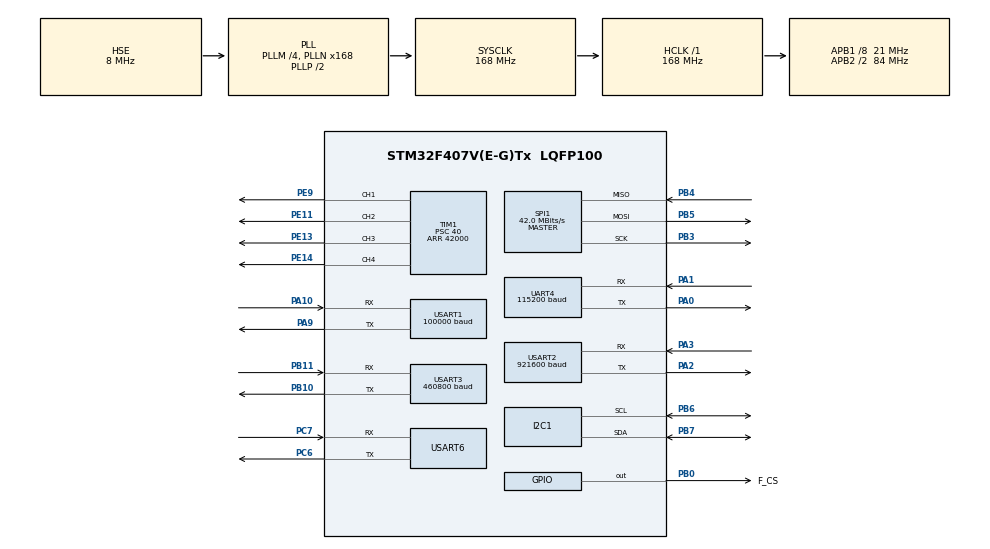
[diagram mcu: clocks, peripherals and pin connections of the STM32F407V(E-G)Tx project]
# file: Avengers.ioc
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Dma.Request0=USART1_RX
Dma.Request1=USART3_RX
Dma.Request2=USART6_RX
Dma.Request3=UART4_RX
Dma.UART4_RX.3.Direction=DMA_PERIPH_TO_MEMORY
Dma.UART4_RX.3.FIFOMode=DMA_FIFOMODE_DISABLE
Dma.UART4_RX.3.Instance=DMA1_Stream2
Dma.UART4_RX.3.MemDataAlignment=DMA_MDATAALIGN_BYTE
Dma.UART4_RX.3.MemInc=DMA_MINC_ENABLE
Dma.UART4_RX.3.Mode=DMA_CIRCULAR
Dma.UART4_RX.3.PeriphDataAlignment=DMA_PDATAALIGN_BYTE
Dma.UART4_RX.3.PeriphInc=DMA_PINC_DISABLE
Dma.UART4_RX.3.Priority=DMA_PRIORITY_LOW
Dma.USART1_RX.0.Direction=DMA_PERIPH_TO_MEMORY
Dma.USART1_RX.0.FIFOMode=DMA_FIFOMODE_DISABLE
Dma.USART1_RX.0.Instance=DMA2_Stream2
Dma.USART1_RX.0.MemDataAlignment=DMA_MDATAALIGN_BYTE
Dma.USART1_RX.0.MemInc=DMA_MINC_ENABLE
Dma.USART1_RX.0.Mode=DMA_CIRCULAR
Dma.USART1_RX.0.PeriphDataAlignment=DMA_PDATAALIGN_BYTE
Dma.USART1_RX.0.PeriphInc=DMA_PINC_DISABLE
Dma.USART1_RX.0.Priority=DMA_PRIORITY_MEDIUM
Dma.USART3_RX.1.Direction=DMA_PERIPH_TO_MEMORY
Dma.USART3_RX.1.FIFOMode=DMA_FIFOMODE_DISABLE
Dma.USART3_RX.1.Instance=DMA1_Stream1
Dma.USART3_RX.1.MemDataAlignment=DMA_MDATAALIGN_BYTE
Dma.USART3_RX.1.MemInc=DMA_MINC_ENABLE
Dma.USART3_RX.1.Mode=DMA_CIRCULAR
Dma.USART3_RX.1.PeriphDataAlignment=DMA_PDATAALIGN_BYTE
Dma.USART3_RX.1.PeriphInc=DMA_PINC_DISABLE
Dma.USART3_RX.1.Priority=DMA_PRIORITY_LOW
Dma.USART6_RX.2.Direction=DMA_PERIPH_TO_MEMORY
Dma.USART6_RX.2.FIFOMode=DMA_FIFOMODE_DISABLE
Dma.USART6_RX.2.Instance=DMA2_Stream1
Dma.USART6_RX.2.MemDataAlignment=DMA_MDATAALIGN_BYTE
Dma.USART6_RX.2.MemInc=DMA_MINC_ENABLE
Dma.USART6_RX.2.Mode=DMA_CIRCULAR
Dma.USART6_RX.2.PeriphDataAlignment=DMA_PDATAALIGN_BYTE
Dma.USART6_RX.2.PeriphInc=DMA_PINC_DISABLE
Dma.USART6_RX.2.Priority=DMA_PRIORITY_LOW
Mcu.Family=STM32F4
Mcu.Name=STM32F407V(E-G)Tx
Mcu.Package=LQFP100
NVIC.DMA1_Stream1_IRQn=true\:0\:0\:false\:false\:true\:false
NVIC.DMA1_Stream2_IRQn=true\:0\:0\:false\:false\:true\:false
NVIC.DMA2_Stream1_IRQn=true\:0\:0\:false\:false\:true\:false
NVIC.DMA2_Stream2_IRQn=true\:0\:0\:false\:false\:true\:false
NVIC.PriorityGroup=NVIC_PRIORITYGROUP_4
NVIC.TIM6_DAC_IRQn=true\:0\:0\:false\:false\:true\:true
NVIC.TIM7_IRQn=true\:0\:0\:false\:false\:true\:true
NVIC.USART6_IRQn=true\:0\:0\:false\:false\:true\:true
PA0-WKUP.Mode=Asynchronous
PA0-WKUP.Signal=UART4_TX
PA1.Mode=Asynchronous
PA1.Signal=UART4_RX
PA10.Mode=Asynchronous
PA10.Signal=USART1_RX
PA13.Mode=Serial_Wire
PA13.Signal=SYS_JTMS-SWDIO
PA14.Mode=Serial_Wire
PA14.Signal=SYS_JTCK-SWCLK
PA2.Mode=Asynchronous
PA2.Signal=USART2_TX
PA3.Mode=Asynchronous
PA3.Signal=USART2_RX
PA9.Mode=Asynchronous
PA9.Signal=USART1_TX
PB0.GPIO_Label=F_CS
PB0.Signal=GPIO_Output
PB10.Mode=Asynchronous
PB10.Signal=USART3_TX
PB11.Mode=Asynchronous
PB11.Signal=USART3_RX
PB3.Mode=Full_Duplex_Master
PB3.Signal=SPI1_SCK
PB4.Mode=Full_Duplex_Master
PB4.Signal=SPI1_MISO
PB5.Mode=Full_Duplex_Master
PB5.Signal=SPI1_MOSI
PB6.Mode=I2C
PB6.Signal=I2C1_SCL
PB7.Mode=I2C
PB7.Signal=I2C1_SDA
PC6.Mode=Asynchronous
PC6.Signal=USART6_TX
PC7.Mode=Asynchronous
PC7.Signal=USART6_RX
PE11.Signal=S_TIM1_CH2
PE13.Signal=S_TIM1_CH3
PE14.Signal=S_TIM1_CH4
PE9.Signal=S_TIM1_CH1
PH0-OSC_IN.Mode=HSE-External-Oscillator
PH0-OSC_IN.Signal=RCC_OSC_IN
PH1-OSC_OUT.Mode=HSE-External-Oscillator
PH1-OSC_OUT.Signal=RCC_OSC_OUT
ProjectManager.HeapSize=0x200
ProjectManager.StackSize=0x4000
ProjectManager.TargetToolchain=EWARM
RCC.48MHZClocksFreq_Value=84000000
RCC.AHBFreq_Value=168000000
RCC.APB1CLKDivider=RCC_HCLK_DIV8
RCC.APB1Freq_Value=21000000
RCC.APB1TimFreq_Value=42000000
RCC.APB2CLKDivider=RCC_HCLK_DIV2
RCC.APB2Freq_Value=84000000
RCC.APB2TimFreq_Value=168000000
RCC.CortexFreq_Value=168000000
RCC.HCLKFreq_Value=168000000
RCC.HSE_VALUE=8000000
RCC.HSI_VALUE=16000000
RCC.LSE_VALUE=32768
RCC.PLLM=4
RCC.PLLN=168
RCC.PLLSourceVirtual=RCC_PLLSOURCE_HSE
RCC.SYSCLKFreq_VALUE=168000000
RCC.SYSCLKSource=RCC_SYSCLKSOURCE_PLLCLK
RCC.VCOOutputFreq_Value=336000000
SH.S_TIM1_CH1.0=TIM1_CH1,PWM Generation1 CH1
SH.S_TIM1_CH2.0=TIM1_CH2,PWM Generation2 CH2
SH.S_TIM1_CH3.0=TIM1_CH3,PWM Generation3 CH3
SH.S_TIM1_CH4.0=TIM1_CH4,PWM Generation4 CH4
SPI1.BaudRatePrescaler=SPI_BAUDRATEPRESCALER_2
SPI1.CalculateBaudRate=42.0 MBits/s
SPI1.Direction=SPI_DIRECTION_2LINES
SPI1.Mode=SPI_MODE_MASTER
SPI1.VirtualType=VM_MASTER
TIM1.Channel-PWM\ Generation1\ CH1=TIM_CHANNEL_1
TIM1.Channel-PWM\ Generation2\ CH2=TIM_CHANNEL_2
TIM1.Channel-PWM\ Generation3\ CH3=TIM_CHANNEL_3
TIM1.Channel-PWM\ Generation4\ CH4=TIM_CHANNEL_4
TIM1.Period=42000
TIM1.Prescaler=40
TIM6.Period=999
TIM6.Prescaler=41
TIM7.Period=9999
TIM7.Prescaler=4199
UART4.BaudRate=115200
UART4.VirtualMode=Asynchronous
USART1.BaudRate=100000
USART1.Parity=PARITY_EVEN
USART1.StopBits=STOPBITS_2
USART1.VirtualMode=VM_ASYNC
USART1.WordLength=WORDLENGTH_9B
USART2.BaudRate=921600
USART2.VirtualMode=VM_ASYNC
USART3.BaudRate=460800
USART3.VirtualMode=VM_ASYNC
USART6.VirtualMode=VM_ASYNC
VP_TIM1_VS_ClockSourceINT.Mode=Internal
VP_TIM6_VS_ClockSourceINT.Mode=Enable_Timer
VP_TIM7_VS_ClockSourceINT.Mode=Enable_Timer
board=Avengers

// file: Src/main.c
/**
  ******************************************************************************
  * File Name          : main.c
  * Description        : Main program body
  ******************************************************************************
  ** This notice applies to any and all portions of this file
  * that are not between comment pairs USER CODE BEGIN and
  * USER CODE END. Other portions of this file, whether
  * inserted by the user or by software development tools
  * are owned by their respective copyright owners.
  *
  * COPYRIGHT(c) 2018 STMicroelectronics
  *
  * Redistribution and use in source and binary forms, with or without modification,
  * are permitted provided that the following conditions are met:
  *   1. Redistributions of source code must retain the above copyright notice,
  *      this list of conditions and the following disclaimer.
  *   2. Redistributions in binary form must reproduce the above copyright notice,
  *      this list of conditions and the following disclaimer in the documentation
  *      and/or other materials provided with the distribution.
  *   3. Neither the name of STMicroelectronics nor the names of its contributors
  *      may be used to endorse or promote products derived from this software
  *      without specific prior written permission.
  *
  * THIS SOFTWARE IS PROVIDED BY THE COPYRIGHT HOLDERS AND CONTRIBUTORS "AS IS"
  * AND ANY EXPRESS OR IMPLIED WARRANTIES, INCLUDING, BUT NOT LIMITED TO, THE
  * IMPLIED WARRANTIES OF MERCHANTABILITY AND FITNESS FOR A PARTICULAR PURPOSE ARE
  * DISCLAIMED. IN NO EVENT SHALL THE COPYRIGHT HOLDER OR CONTRIBUTORS BE LIABLE
  * FOR ANY DIRECT, INDIRECT, INCIDENTAL, SPECIAL, EXEMPLARY, OR CONSEQUENTIAL
  * DAMAGES (INCLUDING, BUT NOT LIMITED TO, PROCUREMENT OF SUBSTITUTE GOODS OR
  * SERVICES; LOSS OF USE, DATA, OR PROFITS; OR BUSINESS INTERRUPTION) HOWEVER
  * CAUSED AND ON ANY THEORY OF LIABILITY, WHETHER IN CONTRACT, STRICT LIABILITY,
  * OR TORT (INCLUDING NEGLIGENCE OR OTHERWISE) ARISING IN ANY WAY OUT OF THE USE
  * OF THIS SOFTWARE, EVEN IF ADVISED OF THE POSSIBILITY OF SUCH DAMAGE.
  *
  ******************************************************************************
  */
#include "main.h"
#include "stm32f4xx_hal.h"
#include "dma.h"
#include "i2c.h"
#include "spi.h"
#include "tim.h"
#include "usart.h"
#include "gpio.h"

/* USER CODE BEGIN Includes */
#include "mti.h"
#include "gps.h"
#include "sbus.h"
#include "control.h"
#include "mixer.h"
#include "user_flash.h"
#include "zigbee.h"
#include "ms5611.h"
#include "kalman_filter.h"
#include "lpf.h"
#include "coordinate_transform.h"
/* USER CODE END Includes */

/* USER CODE BEGIN PV */
/* Private variables ---------------------------------------------------------*/
uint8_t cnt;
/* USER CODE END PV */

void SystemClock_Config(void);

/* USER CODE BEGIN PFP */
/* Private function prototypes -----------------------------------------------*/
void initialize();
/* USER CODE END PFP */

int main(void)
{

  /* MCU Configuration----------------------------------------------------------*/

  /* Reset of all peripherals, Initializes the Flash interface and the Systick. */
  HAL_Init();

  /* Configure the system clock */
  SystemClock_Config();

  /* Initialize all configured peripherals */
  MX_GPIO_Init();
  MX_DMA_Init();
  MX_TIM6_Init();
  MX_TIM7_Init();
  MX_USART2_UART_Init();
  MX_USART3_UART_Init();
  MX_USART6_UART_Init();
  MX_I2C1_Init();
  MX_USART1_UART_Init();
  MX_TIM1_Init();
  MX_UART4_Init();
  MX_SPI1_Init();

  /* USER CODE BEGIN 2 */
  /* Intialize All Devices */
  initialize();

  /* USER CODE END 2 */

  /* Infinite loop */
  while (1)
  {

  }

}

/** System Clock Configuration
*/
void SystemClock_Config(void)
{

  RCC_OscInitTypeDef RCC_OscInitStruct;
  RCC_ClkInitTypeDef RCC_ClkInitStruct;

    /**Configure the main internal regulator output voltage
    */
  __HAL_RCC_PWR_CLK_ENABLE();

  __HAL_PWR_VOLTAGESCALING_CONFIG(PWR_REGULATOR_VOLTAGE_SCALE1);

    /**Initializes the CPU, AHB and APB busses clocks
    */
  RCC_OscInitStruct.OscillatorType = RCC_OSCILLATORTYPE_HSE;
  RCC_OscInitStruct.HSEState = RCC_HSE_ON;
  RCC_OscInitStruct.PLL.PLLState = RCC_PLL_ON;
  RCC_OscInitStruct.PLL.PLLSource = RCC_PLLSOURCE_HSE;
  RCC_OscInitStruct.PLL.PLLM = 4;
  RCC_OscInitStruct.PLL.PLLN = 168;
  RCC_OscInitStruct.PLL.PLLP = RCC_PLLP_DIV2;
  RCC_OscInitStruct.PLL.PLLQ = 4;
  if (HAL_RCC_OscConfig(&RCC_OscInitStruct) != HAL_OK)
  {
    _Error_Handler(__FILE__, __LINE__);
  }

    /**Initializes the CPU, AHB and APB busses clocks
    */
  RCC_ClkInitStruct.ClockType = RCC_CLOCKTYPE_HCLK|RCC_CLOCKTYPE_SYSCLK
                              |RCC_CLOCKTYPE_PCLK1|RCC_CLOCKTYPE_PCLK2;
  RCC_ClkInitStruct.SYSCLKSource = RCC_SYSCLKSOURCE_PLLCLK;
  RCC_ClkInitStruct.AHBCLKDivider = RCC_SYSCLK_DIV1;
  RCC_ClkInitStruct.APB1CLKDivider = RCC_HCLK_DIV8;
  RCC_ClkInitStruct.APB2CLKDivider = RCC_HCLK_DIV2;

  if (HAL_RCC_ClockConfig(&RCC_ClkInitStruct, FLASH_LATENCY_5) != HAL_OK)
  {
    _Error_Handler(__FILE__, __LINE__);
  }

    /**Configure the Systick interrupt time
    */
  HAL_SYSTICK_Config(HAL_RCC_GetHCLKFreq()/1000);

    /**Configure the Systick
    */
  HAL_SYSTICK_CLKSourceConfig(SYSTICK_CLKSOURCE_HCLK);

  /* SysTick_IRQn interrupt configuration */
  HAL_NVIC_SetPriority(SysTick_IRQn, 0, 0);
}

/* USER CODE BEGIN 4 */

/*  Initialize all thing */
void initialize()
{
  init_alt_pid_gain();

  /* init module */
  init_sbus();
  init_mti();
  init_gps();
  init_zigbee();
  init_flash();
  init_ms5611();

  /* init filter */
  init_lpf(&alt_lpf, 0.85f);
  init_alt_kf();

  /* init peripheral */
  init_uart_dma();
  init_tim();
}

/* Timer Interrupt ISR */
void HAL_TIM_PeriodElapsedCallback(TIM_HandleTypeDef *htim)
{
  /* 1000Hz */
  if(htim->Instance == TIM6)
  {
    read_mti();
    read_sbus();
    //read_gps();
    read_ms5611();

    /* check if new sbus data was received */
    if(sbus.decode_finish_flag)
    {
      make_atti_control_cmd();          // make attitude control command
      make_alt_control_cmd();           // make altitude control command
    }

    /* check if new height(altitude) data was received */
    if(ms5611_state.new_hgt_flag)
    {
      ms5611.hgt = do_lpf(&alt_lpf, ms5611.hgt);        // then, do low pass filter
    }

    /* check if initial height data was received */
    if(ms5611_state.cali_flag)
    {
      /* check if new sensor data was received */
      if(mti_state.decode_finish_flag)
      {
        calc_dcm_body_to_ned(mti.euler[ROLL], mti.euler[PITCH], mti.euler[YAW]);        // calculate dcm body to ned matrix
        transform_data_body_to_ned(mti.acc[0], mti.acc[1], mti.acc[2]);                 // transform vertical acceleration of body frame to NED frame

        alt_kf_predict(get_ned_free_acc_z());   // do kalman filter prediction
        alt_kf_update(ms5611.hgt);              // do kalman filter update

        atti_controller();                      // do attitude PID controller
        alt_controller();                       // do altitude PID controller

        atti_mixer();                           // do motor output
      }
    }
  }
}

#ifdef __GNUC__
  /* With GCC/RAISONANCE, small printf (option LD Linker->Libraries->Small printf
     set to 'Yes') calls __io_putchar() */
  #define PUTCHAR_PROTOTYPE int __io_putchar(int ch)
#else
  #define PUTCHAR_PROTOTYPE int fputc(int ch, FILE *f)
#endif /* __GNUC__ */
/**
  * @brief  Retargets the C library printf function to the USART.
  * @param  None
  * @retval None
  */
PUTCHAR_PROTOTYPE
{
  /* write a character to the uart1 and Loop until the end of transmission */
  HAL_UART_Transmit(&huart2, (uint8_t *)&ch, 1, 0xFFFF);

  return ch;
}
/* USER CODE END 4 */

void _Error_Handler(char * file, int line)
{
  while(1)
  {
  }
}

/************************ (C) COPYRIGHT STMicroelectronics *****END OF FILE****/
